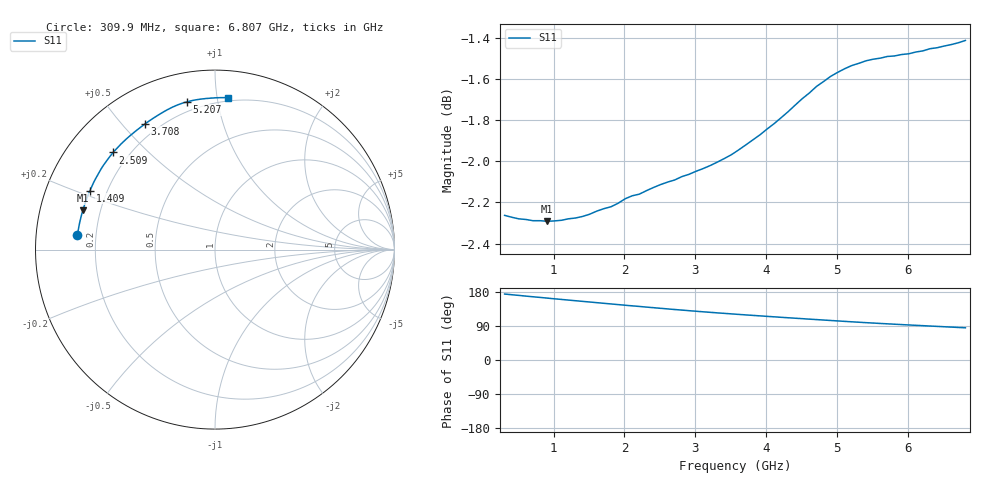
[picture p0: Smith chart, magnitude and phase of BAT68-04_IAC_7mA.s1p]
! Infineon Technologies  Discrete & RF Semiconductors
! BAT68-04
! IAC = 7 mA
! One-Port S-Parameters
# Hz  S  MA  R  50
!f  S11
!Hz  Mag  Ang
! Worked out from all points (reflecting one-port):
!   66 points, 309.9 MHz to 6.807 GHz, reference 50 ohm
!   lowest |S11| = -2.3 dB at 909.5 MHz (marker M1), VSWR 7.62, Z = 6.7 + j7.18 ohm
!   phase of S11 starts at 174 deg and turns -89 deg over the sweep
!   S11 on the Smith chart (normalised r, x): 309.9 MHz: 0.13, +0.05; 1.409 GHz: 0.14, +0.22; 2.509 GHz: 0.14, +0.39; 3.708 GHz: 0.15, +0.58; 5.207 GHz: 0.15, +0.82; 6.807 GHz: 0.18, +1.08
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3.0985e8  0.7706 174.1
6.097e8  0.7689 168.6
9.0955e8  0.7681 163.4
1.0095e9  0.7682 161.6
1.2094e9  0.7691 158.2
1.4093e9  0.7702 154.7
1.50925e9  0.7711 153.1
1.70915e9  0.7735 149.6
2.009e9  0.7778 144.6
2.30885e9  0.7813 139.6
2.4088e9  0.7827 138.1
2.50875e9  0.784 136.4
2.8086e9  0.7875 131.7
3.10845e9  0.7911 127.2
3.30835e9  0.7939 124.4
3.6082e9  0.7994 120.3
3.70815e9  0.8016 119.0
4.008e9  0.8087 115.2
4.4078e9  0.8197 110.2
4.70765e9  0.8283 106.6
4.8076e9  0.8306 105.4
5.0075e9  0.8349 103.1
5.2074e9  0.8381 100.8
5.4073e9  0.8403 98.5
5.6072e9  0.8415 96.4
6.007e9  0.8436 92.5
6.30685e9  0.846 89.6
6.8066e9  0.8499 84.9
